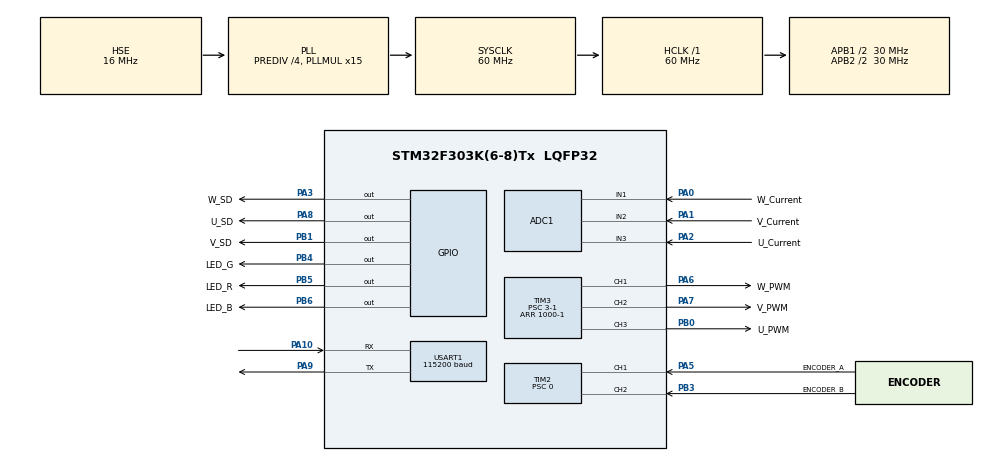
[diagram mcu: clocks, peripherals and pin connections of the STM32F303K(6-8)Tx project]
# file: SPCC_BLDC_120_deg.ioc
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ADC1.Channel-0\#ChannelRegularConversion=ADC_CHANNEL_1
ADC1.Channel-1\#ChannelRegularConversion=ADC_CHANNEL_2
ADC1.Channel-2\#ChannelRegularConversion=ADC_CHANNEL_3
ADC1.DMAContinuousRequests=ENABLE
ADC1.EOCSelection=ADC_EOC_SEQ_CONV
ADC1.ExternalTrigConv=ADC_EXTERNALTRIGCONV_T3_TRGO
ADC1.NbrOfConversion=3
ADC1.NbrOfConversionFlag=1
ADC1.Offset-1\#ChannelRegularConversion=0
ADC1.Offset-2\#ChannelRegularConversion=0
ADC1.OffsetNumber-1\#ChannelRegularConversion=ADC_OFFSET_NONE
ADC1.OffsetNumber-2\#ChannelRegularConversion=ADC_OFFSET_NONE
ADC1.Rank-1\#ChannelRegularConversion=2
ADC1.Rank-2\#ChannelRegularConversion=3
ADC1.SamplingTime-0\#ChannelRegularConversion=ADC_SAMPLETIME_19CYCLES_5
ADC1.SamplingTime-1\#ChannelRegularConversion=ADC_SAMPLETIME_19CYCLES_5
ADC1.SamplingTime-2\#ChannelRegularConversion=ADC_SAMPLETIME_19CYCLES_5
ADC1.SubFamily=STM32F303x8
ADC1.master=1
Dma.ADC1.0.Direction=DMA_PERIPH_TO_MEMORY
Dma.ADC1.0.Instance=DMA1_Channel1
Dma.ADC1.0.MemDataAlignment=DMA_MDATAALIGN_HALFWORD
Dma.ADC1.0.MemInc=DMA_MINC_ENABLE
Dma.ADC1.0.Mode=DMA_CIRCULAR
Dma.ADC1.0.PeriphDataAlignment=DMA_PDATAALIGN_HALFWORD
Dma.ADC1.0.PeriphInc=DMA_PINC_DISABLE
Dma.ADC1.0.Priority=DMA_PRIORITY_LOW
Dma.Request0=ADC1
Mcu.Family=STM32F3
Mcu.Name=STM32F303K(6-8)Tx
Mcu.Package=LQFP32
NVIC.DMA1_Channel1_IRQn=true\:1\:0\:true\:false\:true\:false\:true\:true
NVIC.PriorityGroup=NVIC_PRIORITYGROUP_4
NVIC.TIM1_UP_TIM16_IRQn=true\:0\:0\:false\:false\:true\:true\:true\:true
NVIC.TIM3_IRQn=true\:0\:0\:false\:false\:true\:true\:true\:true
PA0.GPIO_Label=W_Current
PA0.Mode=IN1-Single-Ended
PA0.Signal=ADC1_IN1
PA1.GPIO_Label=V_Current
PA1.GPIO_Mode=GPIO_MODE_ANALOG
PA1.GPIO_PuPd=GPIO_NOPULL
PA1.Mode=IN2-Single-Ended
PA1.Signal=ADC1_IN2
PA10.Mode=Asynchronous
PA10.Signal=USART1_RX
PA13.Mode=Serial_Wire
PA13.Signal=SYS_JTMS-SWDIO
PA14.Mode=Serial_Wire
PA14.Signal=SYS_JTCK-SWCLK
PA2.GPIO_Label=U_Current
PA2.GPIO_Mode=GPIO_MODE_ANALOG
PA2.GPIO_PuPd=GPIO_NOPULL
PA2.Mode=IN3-Single-Ended
PA2.Signal=ADC1_IN3
PA3.GPIO_Label=W_SD
PA3.Signal=GPIO_Output
PA5.GPIO_Label=ENCODER_A
PA5.GPIO_PuPd=GPIO_PULLUP
PA5.Signal=S_TIM2_CH1_ETR
PA6.GPIO_Label=W_PWM
PA6.Signal=S_TIM3_CH1
PA7.GPIO_Label=V_PWM
PA7.Signal=S_TIM3_CH2
PA8.GPIO_Label=U_SD
PA8.Signal=GPIO_Output
PA9.Mode=Asynchronous
PA9.Signal=USART1_TX
PB0.GPIO_Label=U_PWM
PB0.Signal=S_TIM3_CH3
PB1.GPIO_Label=V_SD
PB1.Signal=GPIO_Output
PB3.GPIO_Label=ENCODER_B
PB3.GPIO_PuPd=GPIO_PULLUP
PB3.Signal=S_TIM2_CH2
PB4.GPIO_Label=LED_G
PB4.Signal=GPIO_Output
PB5.GPIO_Label=LED_R
PB5.Signal=GPIO_Output
PB6.GPIO_Label=LED_B
PB6.Signal=GPIO_Output
PF0\ /\ OSC_IN.Mode=HSE-External-Oscillator
PF0\ /\ OSC_IN.Signal=RCC_OSC_IN
PF1\ /\ OSC_OUT.Mode=HSE-External-Oscillator
PF1\ /\ OSC_OUT.Signal=RCC_OSC_OUT
ProjectManager.HeapSize=0x200
ProjectManager.StackSize=0x400
ProjectManager.TargetToolchain=STM32CubeIDE
RCC.AHBFreq_Value=60000000
RCC.APB1CLKDivider=RCC_HCLK_DIV2
RCC.APB1Freq_Value=30000000
RCC.APB1TimFreq_Value=60000000
RCC.APB2CLKDivider=RCC_HCLK_DIV2
RCC.APB2Freq_Value=30000000
RCC.APB2TimFreq_Value=60000000
RCC.CortexFreq_Value=60000000
RCC.HCLKFreq_Value=60000000
RCC.HSE_VALUE=16000000
RCC.HSI_VALUE=8000000
RCC.PLLMUL=RCC_PLL_MUL15
RCC.PLLSourceVirtual=RCC_PLLSOURCE_HSE
RCC.RCC_PLLsource_Clock_Source_FROM_HSE=RCC_HSE_PREDIV_DIV4
RCC.SYSCLKFreq_VALUE=60000000
RCC.SYSCLKSourceVirtual=RCC_SYSCLKSOURCE_PLLCLK
SH.S_TIM2_CH1_ETR.0=TIM2_CH1,Encoder_Interface
SH.S_TIM2_CH2.0=TIM2_CH2,Encoder_Interface
SH.S_TIM3_CH1.0=TIM3_CH1,PWM Generation1 CH1
SH.S_TIM3_CH2.0=TIM3_CH2,PWM Generation2 CH2
SH.S_TIM3_CH3.0=TIM3_CH3,PWM Generation3 CH3
TIM1.Period=1000-1
TIM1.Prescaler=60-1
TIM2.EncoderMode=TIM_ENCODERMODE_TI12
TIM2.IC1Filter=5
TIM2.IC1Prescaler=TIM_ICPSC_DIV1
TIM2.IC2Filter=5
TIM2.IC2Prescaler=TIM_ICPSC_DIV1
TIM2.Period=20480
TIM2.Prescaler=0
TIM3.Channel-PWM\ Generation1\ CH1=TIM_CHANNEL_1
TIM3.Channel-PWM\ Generation2\ CH2=TIM_CHANNEL_2
TIM3.Channel-PWM\ Generation3\ CH3=TIM_CHANNEL_3
TIM3.Channel-PWM\ Generation4\ No\ Output=TIM_CHANNEL_4
TIM3.CounterMode=TIM_COUNTERMODE_CENTERALIGNED1
TIM3.Period=1000-1
TIM3.Prescaler=3-1
TIM3.TIM_MasterOutputTrigger=TIM_TRGO_OC4REF
TIM3.TIM_MasterSlaveMode=TIM_MASTERSLAVEMODE_ENABLE
USART1.BaudRate=115200
USART1.VirtualMode-Asynchronous=VM_ASYNC
VP_TIM1_VS_ClockSourceINT.Mode=Internal
VP_TIM3_VS_ClockSourceINT.Mode=Internal
VP_TIM3_VS_no_output4.Mode=PWM Generation4 No Output
board=custom

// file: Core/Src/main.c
/* USER CODE BEGIN Header */
/**
  ******************************************************************************
  * @file           : main.c
  * @brief          : Main program body
  ******************************************************************************
  * @attention
  *
  * Copyright (c) 2026 STMicroelectronics.
  * All rights reserved.
  *
  * This software is licensed under terms that can be found in the LICENSE file
  * in the root directory of this software component.
  * If no LICENSE file comes with this software, it is provided AS-IS.
  *
  ******************************************************************************
  */
/* USER CODE END Header */
#include "main.h"

/* USER CODE BEGIN Includes */
#include <math.h>
#include <stdio.h>
/* USER CODE END Includes */

/* USER CODE BEGIN PM */
//PWMの使用タイマ
#define MOTOR_PWM_TIMER htim3
//各チャンネル
#define U_PHASE_PWM_CHANNEL TIM_CHANNEL_3
#define V_PHASE_PWM_CHANNEL TIM_CHANNEL_2
#define W_PHASE_PWM_CHANNEL TIM_CHANNEL_1

//PWM出力関数
#define SET_PWM_DUTY(PHASE, DUTY) __HAL_TIM_SET_COMPARE(&MOTOR_PWM_TIMER, PHASE##_PHASE_PWM_CHANNEL, DUTY)
/* USER CODE END PM */

ADC_HandleTypeDef hadc1;
DMA_HandleTypeDef hdma_adc1;

TIM_HandleTypeDef htim1;
TIM_HandleTypeDef htim2;
TIM_HandleTypeDef htim3;

UART_HandleTypeDef huart1;

/* USER CODE BEGIN PV */

/*	モーターの定数	*/
//極対数
int pole_pairs = 11;

/*	角度関係	*/
//現在のエンコーダーのカウント
uint16_t cnt_now = 0;

//1回前のエンコーダーのカウント
uint16_t cnt_old = 0;

//回転した回数
int revolution_count = 0;

//エンコーダーが1回のループでどれだけ回転したら1回転したとみなすかのしきい値
int revolution_threshold_num = 10000;

//現在のラジアン角
float degree = 0;

//現在のラジアン機械角
float degree_e = 0;

//機械角に対するsin,cos
float degree_e_sin = 0;
float degree_e_cos = 0;

int count = 0;
/* USER CODE END PV */

void SystemClock_Config(void);
static void MX_GPIO_Init(void);
static void MX_DMA_Init(void);
static void MX_ADC1_Init(void);
static void MX_TIM3_Init(void);
static void MX_USART1_UART_Init(void);
static void MX_TIM2_Init(void);
static void MX_TIM1_Init(void);

/* USER CODE BEGIN 0 */

void drive_120degree(int step, int duty) {

    // 1. まず全相を一旦High-Z（SDピンをLOW、PWMを0）にして貫通電流を確実に防ぐ
    HAL_GPIO_WritePin(U_SD_GPIO_Port, U_SD_Pin, RESET);
    HAL_GPIO_WritePin(V_SD_GPIO_Port, V_SD_Pin, RESET);
    HAL_GPIO_WritePin(W_SD_GPIO_Port, W_SD_Pin, RESET);

    SET_PWM_DUTY(U, 0);
    SET_PWM_DUTY(V, 0);
    SET_PWM_DUTY(W, 0);

    // 2. ステップ(0〜5)に応じた通電パターンの適用
    // 流入(High側)にdutyを与え、流出(Low側)を0(ローサイドON)にする
    switch(step % 6) {
        case 0: // UからVへ電流を流す (Wは休み)
            SET_PWM_DUTY(U, duty); // UハイサイドON
            SET_PWM_DUTY(V, 0);    // VローサイドON
            HAL_GPIO_WritePin(U_SD_GPIO_Port, U_SD_Pin, SET);
            HAL_GPIO_WritePin(V_SD_GPIO_Port, V_SD_Pin, SET);
            break;

        case 1: // UからWへ
            SET_PWM_DUTY(U, duty);
            SET_PWM_DUTY(W, 0);
            HAL_GPIO_WritePin(U_SD_GPIO_Port, U_SD_Pin, SET);
            HAL_GPIO_WritePin(W_SD_GPIO_Port, W_SD_Pin, SET);
            break;

        case 2: // VからWへ
            SET_PWM_DUTY(V, duty);
            SET_PWM_DUTY(W, 0);
            HAL_GPIO_WritePin(V_SD_GPIO_Port, V_SD_Pin, SET);
            HAL_GPIO_WritePin(W_SD_GPIO_Port, W_SD_Pin, SET);
            break;

        case 3: // VからUへ
            SET_PWM_DUTY(V, duty);
            SET_PWM_DUTY(U, 0);
            HAL_GPIO_WritePin(V_SD_GPIO_Port, V_SD_Pin, SET);
            HAL_GPIO_WritePin(U_SD_GPIO_Port, U_SD_Pin, SET);
            break;

        case 4: // WからUへ
            SET_PWM_DUTY(W, duty);
            SET_PWM_DUTY(U, 0);
            HAL_GPIO_WritePin(W_SD_GPIO_Port, W_SD_Pin, SET);
            HAL_GPIO_WritePin(U_SD_GPIO_Port, U_SD_Pin, SET);
            break;

        case 5: // WからVへ
            SET_PWM_DUTY(W, duty);
            SET_PWM_DUTY(V, 0);
            HAL_GPIO_WritePin(W_SD_GPIO_Port, W_SD_Pin, SET);
            HAL_GPIO_WritePin(V_SD_GPIO_Port, V_SD_Pin, SET);
            break;
    }
}

//printfおまじない
int _write(int file, char *ptr, int len)
{
  HAL_UART_Transmit(&huart1,(uint8_t *)ptr,len,10);
  return len;
}
/* USER CODE END 0 */

int main(void)
{

  /* USER CODE BEGIN 1 */
	setbuf(stdout, NULL);
  /* USER CODE END 1 */

  /* MCU Configuration--------------------------------------------------------*/

  /* Reset of all peripherals, Initializes the Flash interface and the Systick. */
  HAL_Init();

  /* Configure the system clock */
  SystemClock_Config();

  /* Initialize all configured peripherals */
  MX_GPIO_Init();
  MX_DMA_Init();
  MX_ADC1_Init();
  MX_TIM3_Init();
  MX_USART1_UART_Init();
  MX_TIM2_Init();
  MX_TIM1_Init();
  /* USER CODE BEGIN 2 */
  /* USER CODE BEGIN 2 */
    HAL_TIM_PWM_Start(&MOTOR_PWM_TIMER, U_PHASE_PWM_CHANNEL);
    HAL_TIM_PWM_Start(&MOTOR_PWM_TIMER, V_PHASE_PWM_CHANNEL);
    HAL_TIM_PWM_Start(&MOTOR_PWM_TIMER, W_PHASE_PWM_CHANNEL);
  //0カウントをセット
  __HAL_TIM_SET_COUNTER(&htim2, 0);

  //エンコーダースタート！
  HAL_TIM_Encoder_Start(&htim2, TIM_CHANNEL_ALL);
  /* USER CODE END 2 */

  /* Infinite loop */
  while (1)
  {

    /* USER CODE BEGIN 3 */
	  drive_120degree(count, 150);
	  HAL_Delay(5);
	  count++;

	  /*	現在のカウントを取得	*/
	  cnt_now = 20479 - __HAL_TIM_GET_COUNTER(&htim2);
//	  cnt_now = __HAL_TIM_GET_COUNTER(&htim2);

	  /*	ラジアン角を算出して、ついでに電気角も算出！	*/
	  degree = (float)(cnt_now / 20480.0) * 2 * M_PI;
	  degree_e = (float)degree * (float)pole_pairs;
	  degree_e_sin = sinf(degree_e);
	  degree_e_cos = cosf(degree_e);

	  printf("%f %f %f\r\n", degree_e, degree_e_sin, degree_e_cos);
  }
  /* USER CODE END 3 */
}

void SystemClock_Config(void)
{
  RCC_OscInitTypeDef RCC_OscInitStruct = {0};
  RCC_ClkInitTypeDef RCC_ClkInitStruct = {0};
  RCC_PeriphCLKInitTypeDef PeriphClkInit = {0};

  /** Initializes the RCC Oscillators according to the specified parameters
  * in the RCC_OscInitTypeDef structure.
  */
  RCC_OscInitStruct.OscillatorType = RCC_OSCILLATORTYPE_HSE;
  RCC_OscInitStruct.HSEState = RCC_HSE_ON;
  RCC_OscInitStruct.HSEPredivValue = RCC_HSE_PREDIV_DIV4;
  RCC_OscInitStruct.HSIState = RCC_HSI_ON;
  RCC_OscInitStruct.PLL.PLLState = RCC_PLL_ON;
  RCC_OscInitStruct.PLL.PLLSource = RCC_PLLSOURCE_HSE;
  RCC_OscInitStruct.PLL.PLLMUL = RCC_PLL_MUL15;
  if (HAL_RCC_OscConfig(&RCC_OscInitStruct) != HAL_OK)
  {
    Error_Handler();
  }

  /** Initializes the CPU, AHB and APB buses clocks
  */
  RCC_ClkInitStruct.ClockType = RCC_CLOCKTYPE_HCLK|RCC_CLOCKTYPE_SYSCLK
                              |RCC_CLOCKTYPE_PCLK1|RCC_CLOCKTYPE_PCLK2;
  RCC_ClkInitStruct.SYSCLKSource = RCC_SYSCLKSOURCE_PLLCLK;
  RCC_ClkInitStruct.AHBCLKDivider = RCC_SYSCLK_DIV1;
  RCC_ClkInitStruct.APB1CLKDivider = RCC_HCLK_DIV2;
  RCC_ClkInitStruct.APB2CLKDivider = RCC_HCLK_DIV2;

  if (HAL_RCC_ClockConfig(&RCC_ClkInitStruct, FLASH_LATENCY_2) != HAL_OK)
  {
    Error_Handler();
  }
  PeriphClkInit.PeriphClockSelection = RCC_PERIPHCLK_USART1|RCC_PERIPHCLK_TIM1
                              |RCC_PERIPHCLK_ADC12;
  PeriphClkInit.Usart1ClockSelection = RCC_USART1CLKSOURCE_PCLK1;
  PeriphClkInit.Adc12ClockSelection = RCC_ADC12PLLCLK_DIV1;
  PeriphClkInit.Tim1ClockSelection = RCC_TIM1CLK_HCLK;
  if (HAL_RCCEx_PeriphCLKConfig(&PeriphClkInit) != HAL_OK)
  {
    Error_Handler();
  }
}

static void MX_ADC1_Init(void)
{

  ADC_MultiModeTypeDef multimode = {0};
  ADC_ChannelConfTypeDef sConfig = {0};

  /** Common config
  */
  hadc1.Instance = ADC1;
  hadc1.Init.ClockPrescaler = ADC_CLOCK_ASYNC_DIV1;
  hadc1.Init.Resolution = ADC_RESOLUTION_12B;
  hadc1.Init.ScanConvMode = ADC_SCAN_ENABLE;
  hadc1.Init.ContinuousConvMode = DISABLE;
  hadc1.Init.DiscontinuousConvMode = DISABLE;
  hadc1.Init.ExternalTrigConvEdge = ADC_EXTERNALTRIGCONVEDGE_RISING;
  hadc1.Init.ExternalTrigConv = ADC_EXTERNALTRIGCONV_T3_TRGO;
  hadc1.Init.DataAlign = ADC_DATAALIGN_RIGHT;
  hadc1.Init.NbrOfConversion = 3;
  hadc1.Init.DMAContinuousRequests = ENABLE;
  hadc1.Init.EOCSelection = ADC_EOC_SEQ_CONV;
  hadc1.Init.LowPowerAutoWait = DISABLE;
  hadc1.Init.Overrun = ADC_OVR_DATA_OVERWRITTEN;
  if (HAL_ADC_Init(&hadc1) != HAL_OK)
  {
    Error_Handler();
  }

  /** Configure the ADC multi-mode
  */
  multimode.Mode = ADC_MODE_INDEPENDENT;
  if (HAL_ADCEx_MultiModeConfigChannel(&hadc1, &multimode) != HAL_OK)
  {
    Error_Handler();
  }

  /** Configure Regular Channel
  */
  sConfig.Channel = ADC_CHANNEL_2;
  sConfig.Rank = ADC_REGULAR_RANK_2;
  sConfig.SingleDiff = ADC_SINGLE_ENDED;
  sConfig.SamplingTime = ADC_SAMPLETIME_19CYCLES_5;
  sConfig.OffsetNumber = ADC_OFFSET_NONE;
  sConfig.Offset = 0;
  if (HAL_ADC_ConfigChannel(&hadc1, &sConfig) != HAL_OK)
  {
    Error_Handler();
  }

  /** Configure Regular Channel
  */
  sConfig.Channel = ADC_CHANNEL_3;
  sConfig.Rank = ADC_REGULAR_RANK_3;
  if (HAL_ADC_ConfigChannel(&hadc1, &sConfig) != HAL_OK)
  {
    Error_Handler();
  }

  /** Configure Regular Channel
  */
  sConfig.Channel = ADC_CHANNEL_1;
  sConfig.Rank = ADC_REGULAR_RANK_1;
  if (HAL_ADC_ConfigChannel(&hadc1, &sConfig) != HAL_OK)
  {
    Error_Handler();
  }

}

static void MX_TIM1_Init(void)
{

  TIM_ClockConfigTypeDef sClockSourceConfig = {0};
  TIM_MasterConfigTypeDef sMasterConfig = {0};

  htim1.Instance = TIM1;
  htim1.Init.Prescaler = 60-1;
  htim1.Init.CounterMode = TIM_COUNTERMODE_UP;
  htim1.Init.Period = 1000-1;
  htim1.Init.ClockDivision = TIM_CLOCKDIVISION_DIV1;
  htim1.Init.RepetitionCounter = 0;
  htim1.Init.AutoReloadPreload = TIM_AUTORELOAD_PRELOAD_DISABLE;
  if (HAL_TIM_Base_Init(&htim1) != HAL_OK)
  {
    Error_Handler();
  }
  sClockSourceConfig.ClockSource = TIM_CLOCKSOURCE_INTERNAL;
  if (HAL_TIM_ConfigClockSource(&htim1, &sClockSourceConfig) != HAL_OK)
  {
    Error_Handler();
  }
  sMasterConfig.MasterOutputTrigger = TIM_TRGO_RESET;
  sMasterConfig.MasterOutputTrigger2 = TIM_TRGO2_RESET;
  sMasterConfig.MasterSlaveMode = TIM_MASTERSLAVEMODE_DISABLE;
  if (HAL_TIMEx_MasterConfigSynchronization(&htim1, &sMasterConfig) != HAL_OK)
  {
    Error_Handler();
  }

}

static void MX_TIM2_Init(void)
{

  TIM_Encoder_InitTypeDef sConfig = {0};
  TIM_MasterConfigTypeDef sMasterConfig = {0};

  htim2.Instance = TIM2;
  htim2.Init.Prescaler = 0;
  htim2.Init.CounterMode = TIM_COUNTERMODE_UP;
  htim2.Init.Period = 20480;
  htim2.Init.ClockDivision = TIM_CLOCKDIVISION_DIV1;
  htim2.Init.AutoReloadPreload = TIM_AUTORELOAD_PRELOAD_DISABLE;
  sConfig.EncoderMode = TIM_ENCODERMODE_TI12;
  sConfig.IC1Polarity = TIM_ICPOLARITY_RISING;
  sConfig.IC1Selection = TIM_ICSELECTION_DIRECTTI;
  sConfig.IC1Prescaler = TIM_ICPSC_DIV1;
  sConfig.IC1Filter = 5;
  sConfig.IC2Polarity = TIM_ICPOLARITY_RISING;
  sConfig.IC2Selection = TIM_ICSELECTION_DIRECTTI;
  sConfig.IC2Prescaler = TIM_ICPSC_DIV1;
  sConfig.IC2Filter = 5;
  if (HAL_TIM_Encoder_Init(&htim2, &sConfig) != HAL_OK)
  {
    Error_Handler();
  }
  sMasterConfig.MasterOutputTrigger = TIM_TRGO_RESET;
  sMasterConfig.MasterSlaveMode = TIM_MASTERSLAVEMODE_DISABLE;
  if (HAL_TIMEx_MasterConfigSynchronization(&htim2, &sMasterConfig) != HAL_OK)
  {
    Error_Handler();
  }

}

static void MX_TIM3_Init(void)
{

  TIM_ClockConfigTypeDef sClockSourceConfig = {0};
  TIM_MasterConfigTypeDef sMasterConfig = {0};
  TIM_OC_InitTypeDef sConfigOC = {0};

  htim3.Instance = TIM3;
  htim3.Init.Prescaler = 3-1;
  htim3.Init.CounterMode = TIM_COUNTERMODE_CENTERALIGNED1;
  htim3.Init.Period = 1000-1;
  htim3.Init.ClockDivision = TIM_CLOCKDIVISION_DIV1;
  htim3.Init.AutoReloadPreload = TIM_AUTORELOAD_PRELOAD_DISABLE;
  if (HAL_TIM_Base_Init(&htim3) != HAL_OK)
  {
    Error_Handler();
  }
  sClockSourceConfig.ClockSource = TIM_CLOCKSOURCE_INTERNAL;
  if (HAL_TIM_ConfigClockSource(&htim3, &sClockSourceConfig) != HAL_OK)
  {
    Error_Handler();
  }
  if (HAL_TIM_PWM_Init(&htim3) != HAL_OK)
  {
    Error_Handler();
  }
  sMasterConfig.MasterOutputTrigger = TIM_TRGO_OC4REF;
  sMasterConfig.MasterSlaveMode = TIM_MASTERSLAVEMODE_ENABLE;
  if (HAL_TIMEx_MasterConfigSynchronization(&htim3, &sMasterConfig) != HAL_OK)
  {
    Error_Handler();
  }
  sConfigOC.OCMode = TIM_OCMODE_PWM1;
  sConfigOC.Pulse = 0;
  sConfigOC.OCPolarity = TIM_OCPOLARITY_HIGH;
  sConfigOC.OCFastMode = TIM_OCFAST_DISABLE;
  if (HAL_TIM_PWM_ConfigChannel(&htim3, &sConfigOC, TIM_CHANNEL_1) != HAL_OK)
  {
    Error_Handler();
  }
  if (HAL_TIM_PWM_ConfigChannel(&htim3, &sConfigOC, TIM_CHANNEL_2) != HAL_OK)
  {
    Error_Handler();
  }
  if (HAL_TIM_PWM_ConfigChannel(&htim3, &sConfigOC, TIM_CHANNEL_3) != HAL_OK)
  {
    Error_Handler();
  }
  if (HAL_TIM_PWM_ConfigChannel(&htim3, &sConfigOC, TIM_CHANNEL_4) != HAL_OK)
  {
    Error_Handler();
  }
  HAL_TIM_MspPostInit(&htim3);

}

static void MX_USART1_UART_Init(void)
{

  huart1.Instance = USART1;
  huart1.Init.BaudRate = 115200;
  huart1.Init.WordLength = UART_WORDLENGTH_8B;
  huart1.Init.StopBits = UART_STOPBITS_1;
  huart1.Init.Parity = UART_PARITY_NONE;
  huart1.Init.Mode = UART_MODE_TX_RX;
  huart1.Init.HwFlowCtl = UART_HWCONTROL_NONE;
  huart1.Init.OverSampling = UART_OVERSAMPLING_16;
  huart1.Init.OneBitSampling = UART_ONE_BIT_SAMPLE_DISABLE;
  huart1.AdvancedInit.AdvFeatureInit = UART_ADVFEATURE_NO_INIT;
  if (HAL_UART_Init(&huart1) != HAL_OK)
  {
    Error_Handler();
  }

}

static void MX_DMA_Init(void)
{

  /* DMA controller clock enable */
  __HAL_RCC_DMA1_CLK_ENABLE();

  /* DMA interrupt init */
  /* DMA1_Channel1_IRQn interrupt configuration */
  HAL_NVIC_SetPriority(DMA1_Channel1_IRQn, 1, 0);
  HAL_NVIC_EnableIRQ(DMA1_Channel1_IRQn);

}

static void MX_GPIO_Init(void)
{
  GPIO_InitTypeDef GPIO_InitStruct = {0};

  /* GPIO Ports Clock Enable */
  __HAL_RCC_GPIOF_CLK_ENABLE();
  __HAL_RCC_GPIOA_CLK_ENABLE();
  __HAL_RCC_GPIOB_CLK_ENABLE();

  /*Configure GPIO pin Output Level */
  HAL_GPIO_WritePin(GPIOA, W_SD_Pin|U_SD_Pin, GPIO_PIN_RESET);

  /*Configure GPIO pin Output Level */
  HAL_GPIO_WritePin(GPIOB, V_SD_Pin|LED_G_Pin|LED_R_Pin|LED_B_Pin, GPIO_PIN_RESET);

  /*Configure GPIO pins : W_SD_Pin U_SD_Pin */
  GPIO_InitStruct.Pin = W_SD_Pin|U_SD_Pin;
  GPIO_InitStruct.Mode = GPIO_MODE_OUTPUT_PP;
  GPIO_InitStruct.Pull = GPIO_NOPULL;
  GPIO_InitStruct.Speed = GPIO_SPEED_FREQ_LOW;
  HAL_GPIO_Init(GPIOA, &GPIO_InitStruct);

  /*Configure GPIO pins : V_SD_Pin LED_G_Pin LED_R_Pin LED_B_Pin */
  GPIO_InitStruct.Pin = V_SD_Pin|LED_G_Pin|LED_R_Pin|LED_B_Pin;
  GPIO_InitStruct.Mode = GPIO_MODE_OUTPUT_PP;
  GPIO_InitStruct.Pull = GPIO_NOPULL;
  GPIO_InitStruct.Speed = GPIO_SPEED_FREQ_LOW;
  HAL_GPIO_Init(GPIOB, &GPIO_InitStruct);

}

void Error_Handler(void)
{
  __disable_irq();
  while (1)
  {
  }
}
